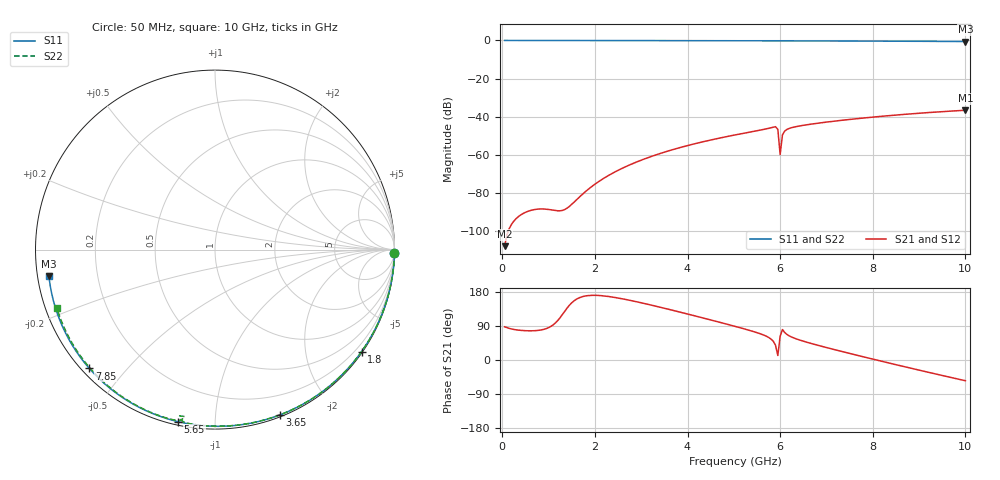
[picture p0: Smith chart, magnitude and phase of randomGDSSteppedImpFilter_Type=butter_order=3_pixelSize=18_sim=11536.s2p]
! freq	dB(S11)	phase(S11)	dB(S12)	phase(S12)
!  dB(S21)	phase(S21)	dB(S22)	phase(S22)
!S-par simulation data
#  GHz  S  DB  R 50
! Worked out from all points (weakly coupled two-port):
!   200 points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, 50 MHz to 10 GHz, reference 50 ohm
!   highest |S21| = -36.64 dB at 10 GHz (marker M1); lowest = -108.0 dB at 50 MHz (marker M2)
!   lowest |S11| = -0.6 dB at 10 GHz (marker M3), VSWR 30.77, Z = 1.64 - j3.97 ohm
!   |S11| at or under -10 dB: nowhere
!   |S22| runs from -0.5 to 0.0 dB; largest |S21 - S12| = 0
!   S11 on the Smith chart (normalised r, x): 50 MHz: open; 1.8 GHz: 0.03, -3.19; 3.65 GHz: 0.02, -1.47; 5.65 GHz: 0.02, -0.81; 7.85 GHz: 0.02, -0.40; 10 GHz: 0.03, -0.08
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0.05  -0.00 -1.0  -107.99 87.6  -107.99 87.6  -0.00 -0.9
0.85  -0.02 -16.6  -88.45 79.5  -88.45 79.5  -0.02 -15.6
1.75  -0.04 -33.9  -80.32 167.8  -80.32 167.8  -0.04 -31.9
1.8  -0.04 -34.8  -79.26 169.1  -79.26 169.1  -0.04 -32.7
2.1  -0.05 -40.4  -73.77 170.1  -73.77 170.1  -0.05 -38.1
2.5  -0.06 -47.9  -68.18 163.6  -68.18 163.6  -0.06 -45.0
2.9  -0.07 -55.2  -63.80 153.7  -63.80 153.7  -0.07 -51.9
3.4  -0.09 -64.1  -59.40 139.5  -59.40 139.5  -0.08 -60.4
3.65  -0.09 -68.5  -57.53 132.1  -57.53 132.1  -0.09 -64.6
5.05  -0.14 -92.3  -49.48 88.0  -49.48 88.0  -0.13 -87.1
5.65  -0.17 -102.1  -46.67 65.6  -46.67 65.6  -0.16 -96.5
5.9  -0.18 -106.1  -45.26 38.9  -45.26 38.9  -0.26 -101.2
5.95  -0.19 -106.9  -46.69 11.9  -46.69 11.9  -0.48 -102.0
6  -0.19 -107.7  -59.90 62.8  -59.90 62.8  -0.49 -100.3
6.05  -0.19 -108.5  -49.53 80.4  -49.53 80.4  -0.29 -101.1
6.1  -0.20 -109.3  -47.51 72.3  -47.51 72.3  -0.23 -102.1
6.25  -0.20 -111.6  -45.77 60.5  -45.77 60.5  -0.21 -104.8
6.7  -0.23 -118.7  -43.82 42.6  -43.82 42.6  -0.22 -111.7
7.85  -0.32 -136.6  -40.59 6.8  -40.59 6.8  -0.31 -128.4
8.35  -0.37 -144.4  -39.47 -8.0  -39.47 -8.0  -0.35 -135.6
9.2  -0.46 -157.8  -37.86 -32.4  -37.86 -32.4  -0.44 -147.8
10  -0.56 -170.9  -36.64 -54.7  -36.64 -54.7  -0.54 -159.6
